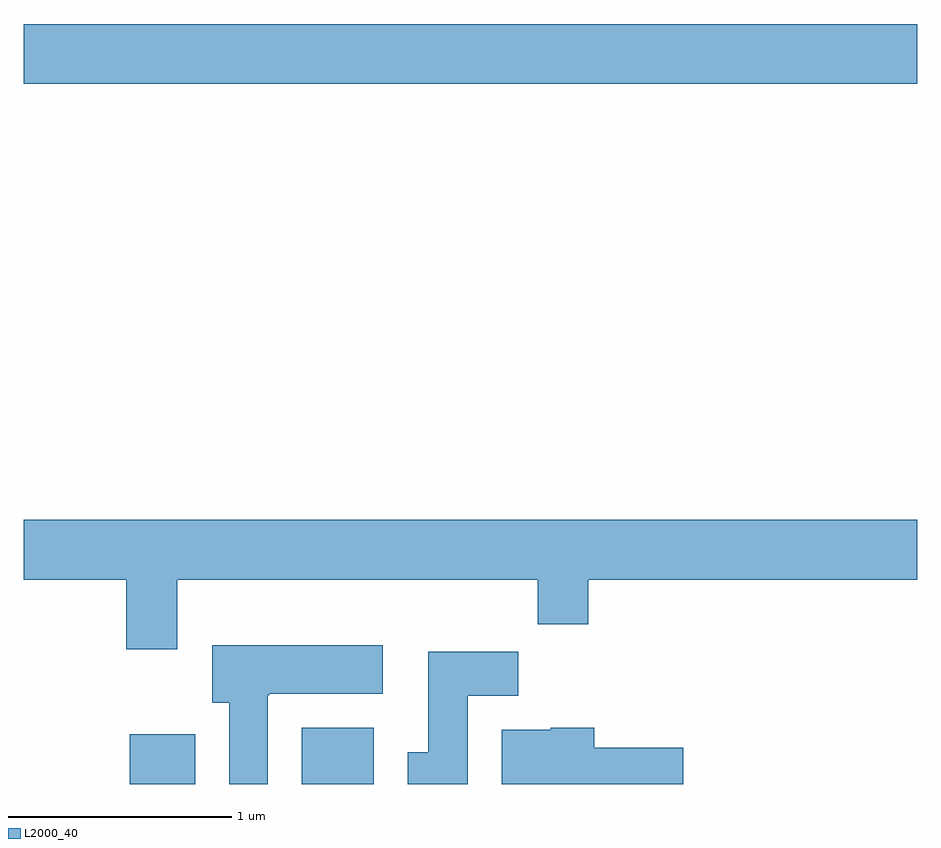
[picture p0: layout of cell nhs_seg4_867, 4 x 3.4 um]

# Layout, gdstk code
import gdstk
lib = gdstk.Library(unit=1e-6, precision=1e-09)
def R(c, l, rs):  # rectangles x0, y0, x1, y1
    for r in rs: c.add(gdstk.rectangle(r[:2], r[2:], *l))
def P(c, l, *ps):  # polygons
    for p in ps: c.add(gdstk.Polygon(p, *l))
L2000_40 = (2000, 40)

nhs_seg4_867 = lib.new_cell('nhs_seg4_867')
R(nhs_seg4_867, L2000_40, [(210.086,1355.982,210.379,1356.204), (210.856,1355.982,211.179,1356.234), (209.611,1359.116,213.611,1359.384)])
P(nhs_seg4_867, L2000_40, [(210.299,1356.896),(211.911,1356.896),(211.911,1356.696),(212.139,1356.696),(212.139,1356.896),(213.611,1356.896),(213.611,1357.164),(209.611,1357.164),(209.611,1356.896),(210.071,1356.896),(210.071,1356.586),(210.299,1356.586)],
  [(210.704,1356.38),(210.71,1356.38),(210.71,1356.386),(211.219,1356.386),(211.219,1356.604),(210.456,1356.604),(210.456,1356.346),(210.531,1356.346),(210.531,1355.982),(210.704,1355.982)],
  [(211.599,1356.376),(211.824,1356.376),(211.824,1356.574),(211.421,1356.574),(211.421,1356.124),(211.331,1356.124),(211.331,1355.982),(211.599,1355.982)],
  [(212.564,1356.144),(212.164,1356.144),(212.164,1356.234),(211.97,1356.234),(211.97,1356.224),(211.751,1356.224),(211.751,1355.982),(212.564,1355.982)])

lib.write_gds('nhs_seg4_867.gds')
